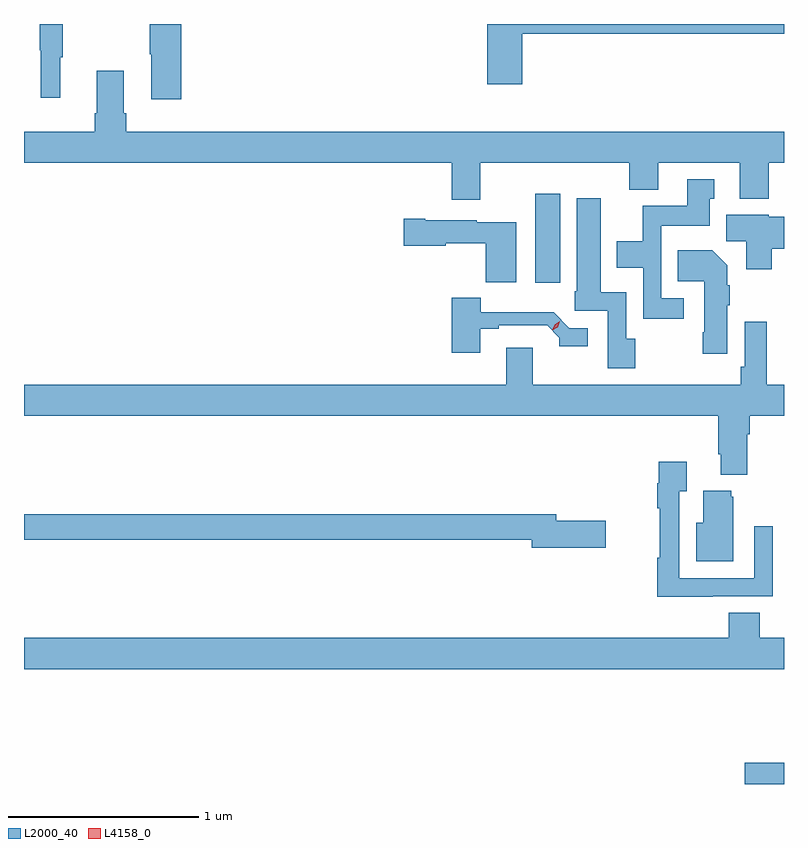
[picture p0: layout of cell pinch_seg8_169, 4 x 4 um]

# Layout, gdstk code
import gdstk
lib = gdstk.Library(unit=1e-6, precision=1e-09)
def R(c, l, rs):  # rectangles x0, y0, x1, y1
    for r in rs: c.add(gdstk.rectangle(r[:2], r[2:], *l))
def P(c, l, *ps):  # polygons
    for p in ps: c.add(gdstk.Polygon(p, *l))
L2000_40 = (2000, 40)
L4158_0 = (4158, 0)

pinch_seg8_169 = lib.new_cell('pinch_seg8_169')
R(pinch_seg8_169, L2000_40, [(641.1,1127.883,641.307,1127.996), (639.998,1130.52,640.129,1130.989)])
P(pinch_seg8_169, L2000_40, [(637.499,1131.707),(637.51,1131.707),(637.51,1131.881),(637.499,1131.881),(637.499,1131.883),(637.389,1131.883),(637.389,1131.744),(637.396,1131.744),(637.396,1131.495),(637.499,1131.495)],
  [(638.135,1131.883),(637.969,1131.883),(637.969,1131.724),(637.976,1131.724),(637.976,1131.486),(638.135,1131.486)],
  [(639.929,1131.832),(641.307,1131.832),(641.307,1131.883),(639.746,1131.883),(639.746,1131.567),(639.929,1131.567)],
  [(639.709,1131.152),(640.493,1131.152),(640.493,1131.011),(640.645,1131.011),(640.645,1131.152),(641.075,1131.152),(641.075,1130.963),(641.228,1130.963),(641.228,1131.152),(641.307,1131.152),(641.307,1131.316),(637.844,1131.316),(637.844,1131.412),(637.831,1131.412),(637.831,1131.637),(637.691,1131.637),(637.691,1131.412),(637.679,1131.412),(637.679,1131.316),(637.307,1131.316),(637.307,1131.152),(639.557,1131.152),(639.557,1130.958),(639.709,1130.958)],
  [(640.78,1130.439),(640.662,1130.439),(640.662,1130.822),(640.915,1130.822),(640.915,1130.964),(640.939,1130.964),(640.939,1131.067),(640.799,1131.067),(640.799,1130.926),(640.564,1130.926),(640.564,1130.74),(640.427,1130.74),(640.427,1130.6),(640.566,1130.6),(640.566,1130.331),(640.78,1130.331)],
  [(640.524,1130.226),(640.476,1130.226),(640.476,1130.47),(640.342,1130.47),(640.342,1130.965),(640.217,1130.965),(640.217,1130.476),(640.206,1130.476),(640.206,1130.373),(640.38,1130.373),(640.38,1130.07),(640.524,1130.07)],
  [(641.243,1130.699),(641.307,1130.699),(641.307,1130.869),(641.226,1130.869),(641.226,1130.878),(641.003,1130.878),(641.003,1130.74),(641.108,1130.74),(641.108,1130.592),(641.243,1130.592)],
  [(639.898,1130.839),(639.69,1130.839),(639.69,1130.851),(639.418,1130.851),(639.418,1130.859),(639.306,1130.859),(639.306,1130.717),(639.528,1130.717),(639.528,1130.729),(639.736,1130.729),(639.736,1130.525),(639.898,1130.525)],
  [(641.008,1130.404),(641.021,1130.404),(641.021,1130.507),(641.008,1130.507),(641.008,1130.614),(640.93,1130.692),(640.747,1130.692),(640.747,1130.528),(640.886,1130.528),(640.886,1130.26),(640.879,1130.26),(640.879,1130.148),(641.008,1130.148)],
  [(639.709,1130.279),(639.805,1130.279),(639.805,1130.297),(640.061,1130.297),(640.125,1130.233),(640.125,1130.186),(640.273,1130.186),(640.273,1130.283),(640.176,1130.283),(640.094,1130.365),(639.712,1130.365),(639.712,1130.443),(639.557,1130.443),(639.557,1130.154),(639.709,1130.154)],
  [(641.113,1129.724),(641.126,1129.724),(641.126,1129.82),(641.307,1129.82),(641.307,1129.984),(641.216,1129.984),(641.216,1130.317),(641.1,1130.317),(641.1,1130.08),(641.08,1130.08),(641.08,1129.984),(639.985,1129.984),(639.985,1130.179),(639.845,1130.179),(639.845,1129.984),(637.307,1129.984),(637.307,1129.82),(640.961,1129.82),(640.961,1129.618),(640.973,1129.618),(640.973,1129.511),(641.113,1129.511)],
  [(640.931,1128.87),(641.247,1128.87),(641.247,1129.24),(641.151,1129.24),(641.151,1128.966),(640.755,1128.966),(640.755,1129.423),(640.795,1129.423),(640.795,1129.579),(640.647,1129.579),(640.647,1129.466),(640.639,1129.466),(640.639,1129.334),(640.654,1129.334),(640.654,1129.073),(640.639,1129.073),(640.639,1128.869),(640.931,1128.869)],
  [(641.041,1129.395),(641.03,1129.395),(641.03,1129.426),(640.883,1129.426),(640.883,1129.258),(640.844,1129.258),(640.844,1129.055),(641.041,1129.055)],
  [(640.369,1129.268),(640.108,1129.268),(640.108,1129.304),(637.307,1129.304),(637.307,1129.168),(639.98,1129.168),(639.98,1129.126),(640.369,1129.126)],
  [(641.307,1128.652),(641.18,1128.652),(641.18,1128.785),(641.015,1128.785),(641.015,1128.652),(637.307,1128.652),(637.307,1128.488),(641.307,1128.488)])
P(pinch_seg8_169, L4158_0, [(640.087,1130.27),(640.087,1130.271),(640.1,1130.301),(640.127,1130.319),(640.128,1130.319),(640.128,1130.319),(640.115,1130.288),(640.088,1130.27)])

lib.write_gds('pinch_seg8_169.gds')
